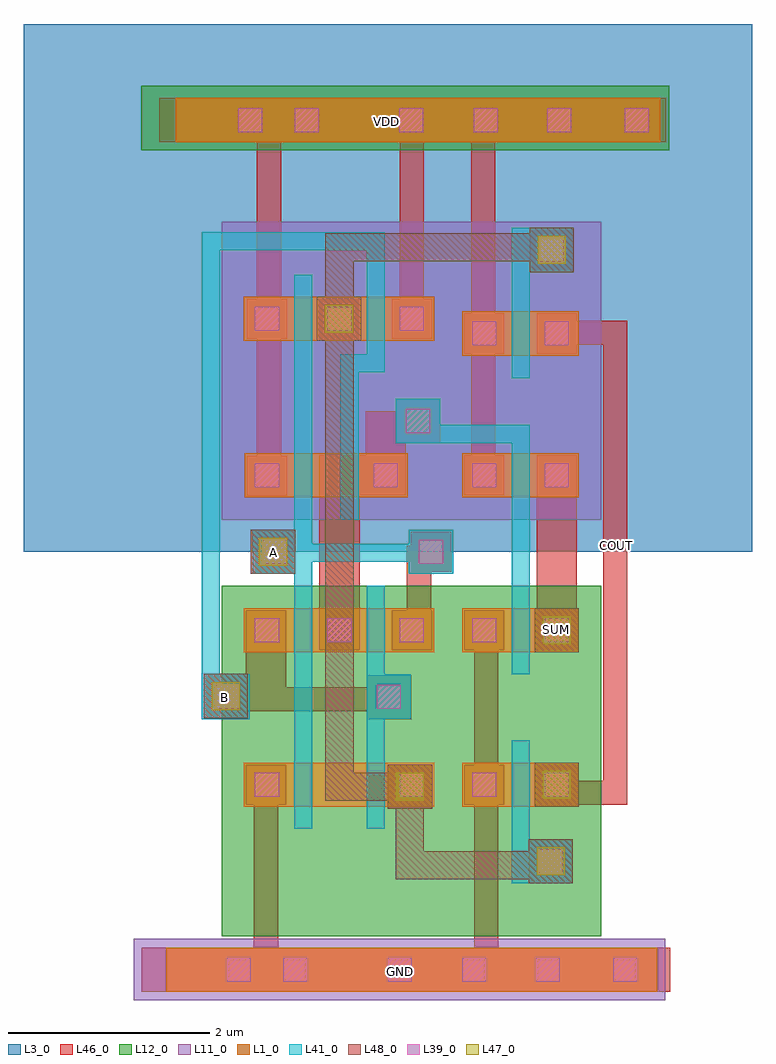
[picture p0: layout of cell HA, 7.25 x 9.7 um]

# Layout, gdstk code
import gdstk
lib = gdstk.Library(unit=1e-6, precision=1e-09)
def R(c, l, rs):  # rectangles x0, y0, x1, y1
    for r in rs: c.add(gdstk.rectangle(r[:2], r[2:], *l))
def A(c, l, x, y, w, h, nx, ny, dx, dy):  # array of equal rectangles
    R(c, l, [(x+i*dx, y+j*dy, x+i*dx+w, y+j*dy+h) for i in range(nx) for j in range(ny)])
L1_0 = (1, 0)
L3_0 = (3, 0)
L11_0 = (11, 0)
L12_0 = (12, 0)
L39_0 = (39, 0)
L41_0 = (41, 0)
L46_0 = (46, 0)
L47_0 = (47, 0)
L48_0 = (48, 0)

m1_m2_via_cdns_673389311 = lib.new_cell('M1_M2_via_CDNS_673389311230')
R(m1_m2_via_cdns_673389311, L46_0, [(-0.22,-0.22,0.22,0.22)])
R(m1_m2_via_cdns_673389311, L47_0, [(-0.14,-0.14,0.14,0.14)])
R(m1_m2_via_cdns_673389311, L48_0, [(-0.22,-0.22,0.22,0.22)])

c_ha = lib.new_cell('HA')
R(c_ha, L1_0, [(0.04,-7.68,4.92,-7.24), (0.81,-5.84,2.7,-5.4), (2.98,-5.84,4.14,-5.4), (0.81,-4.305,2.7,-3.865), (2.98,-4.305,4.14,-3.865), (0.82,-2.765,2.44,-2.325), (2.98,-2.765,4.14,-2.325), (2.98,-1.355,4.14,-0.915), (0.81,-1.21,2.7,-0.77), (0.135,0.765,4.95,1.205)])
R(c_ha, L3_0, [(-1.38,-3.305,5.865,1.94)])
R(c_ha, L11_0, [(-0.285,-7.76,5,-7.15), (0.59,-2.985,4.36,-0.025)])
R(c_ha, L12_0, [(0.59,-7.125,4.36,-3.645), (-0.21,0.685,5.04,1.325)])
A(c_ha, L39_0, 2.36, -5.74, 0.24, 0.24, 3, 1, 0.72, 0)
A(c_ha, L39_0, 0.92, -4.205, 0.24, 0.24, 5, 1, 0.72, 0)
A(c_ha, L39_0, 0.92, -1.11, 0.24, 0.24, 3, 1, 0.72, 0)
R(c_ha, L39_0, [(0.64,-7.58,0.88,-7.34), (1.2,-7.58,1.44,-7.34), (2.24,-7.58,2.48,-7.34), (2.98,-7.58,3.22,-7.34), (3.71,-7.58,3.95,-7.34), (4.48,-7.58,4.72,-7.34), (3.74,-6.5,3.98,-6.26), (0.92,-5.74,1.16,-5.5), (3.8,-5.74,4.04,-5.5), (0.53,-4.865,0.77,-4.625), (2.13,-4.865,2.37,-4.625), (1,-3.425,1.24,-3.185), (2.55,-3.425,2.79,-3.185), (0.92,-2.665,1.16,-2.425), (2.1,-2.665,2.34,-2.425), (3.08,-2.665,3.32,-2.425), (3.8,-2.665,4.04,-2.425), (2.42,-2.125,2.66,-1.885), (3.08,-1.255,3.32,-1.015), (3.8,-1.255,4.04,-1.015), (3.75,-0.425,3.99,-0.185), (0.755,0.865,0.995,1.105), (1.315,0.865,1.555,1.105), (2.355,0.865,2.595,1.105), (3.095,0.865,3.335,1.105), (3.825,0.865,4.065,1.105), (4.595,0.865,4.835,1.105)])
R(c_ha, L41_0, [(3.64,-6.6,4.08,-6.16), (0.43,-4.97,0.87,-4.525), (2.03,-4.965,2.47,-4.525), (0.9,-3.525,1.34,-3.085), (2.45,-3.525,2.89,-3.085), (2.32,-2.225,2.76,-1.785), (3.65,-0.525,4.09,-0.085)])
A(c_ha, L46_0, 0.84, -1.19, 0.4, 0.4, 3, 1, 0.72, 0)
R(c_ha, L46_0, [(-0.205,-7.68,5.05,-7.24), (3.64,-6.6,4.08,-6.16), (0.83,-5.82,1.23,-5.42), (2.28,-5.82,2.68,-5.42), (3,-5.82,3.4,-5.42), (2.035,-4.97,2.475,-4.53), (0.45,-4.945,0.85,-4.545), (0.83,-4.78,1.23,-3.885), (1.56,-4.285,1.96,-2.345), (2.28,-4.285,2.68,-3.885), (3,-4.285,3.4,-3.885), (3.72,-4.285,4.12,-2.345), (0.92,-3.505,1.32,-3.105), (2.47,-3.505,2.87,-3.105), (0.84,-2.75,1.24,-2.35), (1.59,-2.745,2.42,-2.345), (2.02,-2.745,2.42,-1.91), (3,-2.745,3.4,-2.345), (2.32,-2.225,2.76,-1.785), (3,-1.335,3.4,-0.935), (3.72,-1.335,4.12,-0.935), (3.65,-0.525,4.09,-0.085), (-0.03,0.765,5.01,1.205)])
c_ha.add(gdstk.FlexPath([(2.46,-6.42),(3.86,-6.42)], 0.28, ends=(0.14, 0), simple_path=True, layer=48, datatype=0))  # L48_0
c_ha.add(gdstk.FlexPath([(2.46,-5.64),(2.46,-6.42)], 0.28, ends=(0, 0.14), simple_path=True, layer=48, datatype=0))  # L48_0
c_ha.add(gdstk.FlexPath([(2.46,-5.64),(2.48,-5.64)], 0.28, ends="flush", simple_path=True, layer=48, datatype=0))  # L48_0
c_ha.add(gdstk.FlexPath([(1.76,-5.64),(2.46,-5.64)], 0.28, ends=(0.14, 0), simple_path=True, layer=48, datatype=0))  # L48_0
c_ha.add(gdstk.FlexPath([(3.87,-0.28),(1.76,-0.28)], 0.28, ends=(0, 0.14), simple_path=True, layer=48, datatype=0))  # L48_0
c_ha.add(gdstk.FlexPath([(1.76,-0.28),(1.76,-5.64)], 0.28, ends="extended", simple_path=True, layer=48, datatype=0))  # L48_0
c_ha.add(gdstk.FlexPath([(3.56,-6.6),(3.56,-5.18)], 0.18, ends="flush", simple_path=True, layer=41, datatype=0))  # L41_0
c_ha.add(gdstk.FlexPath([(3.56,-1.58),(3.56,-0.085)], 0.18, ends="flush", simple_path=True, layer=41, datatype=0))  # L41_0
c_ha.add(gdstk.FlexPath([(2.12,-0.22),(2.12,-1.43)], 0.18, ends="extended", simple_path=True, layer=41, datatype=0))  # L41_0
c_ha.add(gdstk.FlexPath([(2.12,-1.43),(1.775,-1.43)], 0.18, ends=(0.09, 0), simple_path=True, layer=41, datatype=0))  # L41_0
c_ha.add(gdstk.FlexPath([(0.48,-0.22),(2.12,-0.22)], 0.18, ends="extended", simple_path=True, layer=41, datatype=0))  # L41_0
c_ha.add(gdstk.FlexPath([(0.48,-4.97),(0.48,-0.22)], 0.18, ends=(0, 0.09), simple_path=True, layer=41, datatype=0))  # L41_0
c_ha.add(gdstk.FlexPath([(3.56,-2.135),(3.56,-4.525)], 0.18, ends=(0.09, 0), simple_path=True, layer=41, datatype=0))  # L41_0
c_ha.add(gdstk.FlexPath([(2.61,-2.135),(3.56,-2.135)], 0.18, ends=(0, 0.09), simple_path=True, layer=41, datatype=0))  # L41_0
c_ha.add(gdstk.FlexPath([(1.86,-3.315),(2.83,-3.315)], 0.18, ends=(0.09, 0), simple_path=True, layer=41, datatype=0))  # L41_0
c_ha.add(gdstk.FlexPath([(2.12,-3.645),(2.12,-5.97)], 0.18, ends=(0, 0.09), simple_path=True, layer=41, datatype=0))  # L41_0
c_ha.add(gdstk.FlexPath([(1.86,-1.43),(1.86,-2.985)], 0.18, ends=(0.09, 0), simple_path=True, layer=41, datatype=0))  # L41_0
c_ha.add(gdstk.FlexPath([(1.4,-3.315),(1.86,-3.315)], 0.18, ends="extended", simple_path=True, layer=41, datatype=0))  # L41_0
c_ha.add(gdstk.FlexPath([(1.4,-0.55),(1.4,-6.06)], 0.18, ends="flush", simple_path=True, layer=41, datatype=0))  # L41_0
c_ha.add(gdstk.FlexPath([(4.5,-5.7),(3.91,-5.7)], 0.24, ends=(0.12, 0), simple_path=True, layer=46, datatype=0))  # L46_0
c_ha.add(gdstk.FlexPath([(3.92,-1.13),(4.5,-1.13)], 0.24, ends=(0, 0.12), simple_path=True, layer=46, datatype=0))  # L46_0
c_ha.add(gdstk.FlexPath([(4.5,-1.13),(4.5,-5.7)], 0.24, ends="extended", simple_path=True, layer=46, datatype=0))  # L46_0
c_ha.add(gdstk.FlexPath([(2.48,0.98),(2.48,-0.97)], 0.24, ends="flush", simple_path=True, layer=46, datatype=0))  # L46_0
c_ha.add(gdstk.FlexPath([(3.19,-2.55),(3.19,1.01)], 0.24, ends="flush", simple_path=True, layer=46, datatype=0))  # L46_0
c_ha.add(gdstk.FlexPath([(2.21,-2.03),(2.21,-2.58)], 0.24, ends=(0.12, 0), simple_path=True, layer=46, datatype=0))  # L46_0
c_ha.add(gdstk.FlexPath([(2.55,-2.03),(2.21,-2.03)], 0.24, ends=(0, 0.12), simple_path=True, layer=46, datatype=0))  # L46_0
c_ha.add(gdstk.FlexPath([(1.04,-4.77),(2.27,-4.77)], 0.24, ends=(0.12, 0), simple_path=True, layer=46, datatype=0))  # L46_0
c_ha.add(gdstk.FlexPath([(2.55,-3.245),(2.55,-4.185)], 0.24, ends="flush", simple_path=True, layer=46, datatype=0))  # L46_0
c_ha.add(gdstk.FlexPath([(1.04,-4.09),(1.04,-4.77)], 0.24, ends=(0, 0.12), simple_path=True, layer=46, datatype=0))  # L46_0
c_ha.add(gdstk.FlexPath([(1.03,-5.6),(1.03,-7.66)], 0.24, ends="flush", simple_path=True, layer=46, datatype=0))  # L46_0
c_ha.add(gdstk.FlexPath([(3.22,-4.06),(3.22,-7.66)], 0.24, ends="flush", simple_path=True, layer=46, datatype=0))  # L46_0
c_ha.add(gdstk.FlexPath([(1.06,0.99),(1.06,-2.57)], 0.24, ends="flush", simple_path=True, layer=46, datatype=0))  # L46_0
c_ha.add(gdstk.FlexPath([(1.04,-4.77),(0.64,-4.77)], 0.24, ends=(0.12, 0), simple_path=True, layer=46, datatype=0))  # L46_0
c_ha.add(gdstk.Reference(m1_m2_via_cdns_673389311, (3.86,-6.38), x_reflection=True))
c_ha.add(gdstk.Reference(m1_m2_via_cdns_673389311, (3.87,-0.305)))
c_ha.add(gdstk.Reference(m1_m2_via_cdns_673389311, (2.46,-5.64)))
c_ha.add(gdstk.Reference(m1_m2_via_cdns_673389311, (1.755,-0.99)))
c_ha.add(gdstk.Reference(m1_m2_via_cdns_673389311, (3.92,-5.62)))
c_ha.add(gdstk.Reference(m1_m2_via_cdns_673389311, (3.92,-4.085)))
c_ha.add(gdstk.Reference(m1_m2_via_cdns_673389311, (0.63,-4.74)))
c_ha.add(gdstk.Reference(m1_m2_via_cdns_673389311, (1.1,-3.305)))
c_ha.add(gdstk.Label('COUT', (4.515,-3.24), layer=101, texttype=0))
c_ha.add(gdstk.Label('VDD', (2.225,0.97), layer=101, texttype=0))
c_ha.add(gdstk.Label('SUM', (3.92,-4.075), layer=101, texttype=0))
c_ha.add(gdstk.Label('B', (0.615,-4.755), layer=101, texttype=0))
c_ha.add(gdstk.Label('A', (1.1,-3.315), layer=101, texttype=0))
c_ha.add(gdstk.Label('GND', (2.365,-7.475), layer=101, texttype=0))

lib.write_gds('HA.gds')
